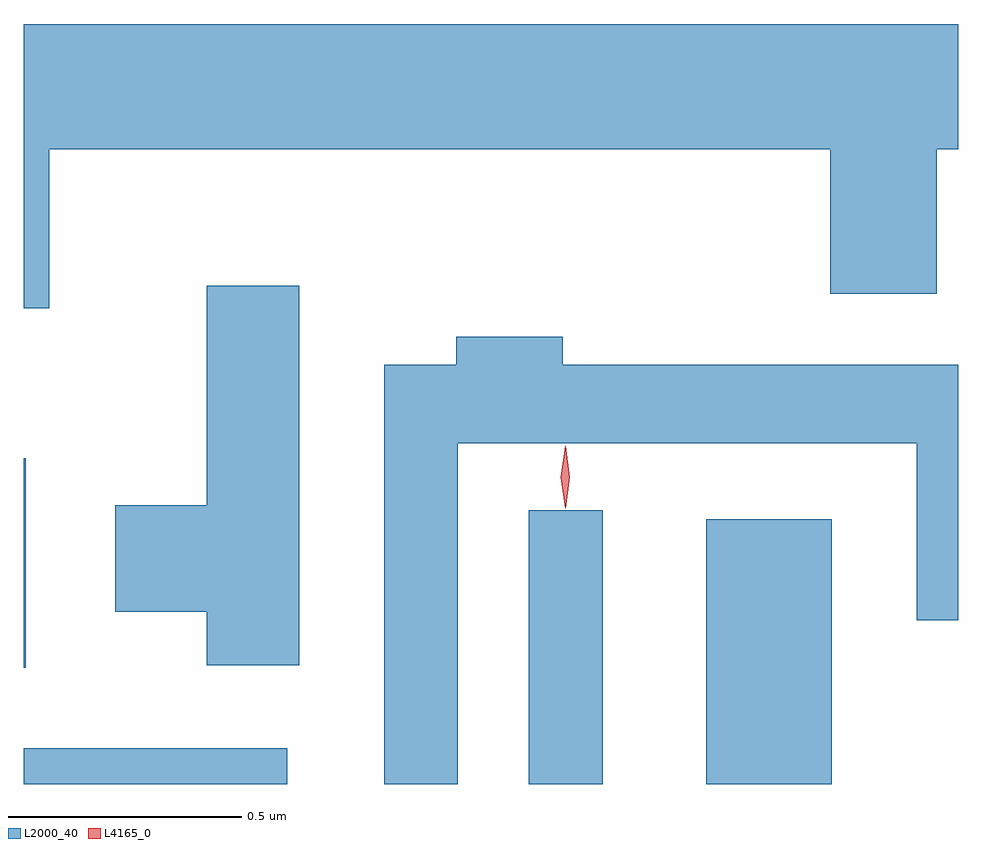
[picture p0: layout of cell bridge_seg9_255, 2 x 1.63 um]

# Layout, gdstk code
import gdstk
lib = gdstk.Library(unit=1e-6, precision=1e-09)
def R(c, l, rs):  # rectangles x0, y0, x1, y1
    for r in rs: c.add(gdstk.rectangle(r[:2], r[2:], *l))
def P(c, l, *ps):  # polygons
    for p in ps: c.add(gdstk.Polygon(p, *l))
L2000_40 = (2000, 40)
L4165_0 = (4165, 0)

bridge_seg9_255 = lib.new_cell('bridge_seg9_255')
R(bridge_seg9_255, L2000_40, [(1468.835,1950.497,1469.399,1950.574), (1469.916,1950.497,1470.074,1951.083), (1470.296,1950.497,1470.564,1951.064), (1468.835,1950.746,1468.839,1951.194)])
P(bridge_seg9_255, L2000_40, [(1468.889,1951.856),(1470.561,1951.856),(1470.561,1951.546),(1470.789,1951.546),(1470.789,1951.856),(1470.835,1951.856),(1470.835,1952.124),(1468.835,1952.124),(1468.835,1951.516),(1468.889,1951.516)],
  [(1469.424,1951.564),(1469.226,1951.564),(1469.226,1951.094),(1469.031,1951.094),(1469.031,1950.866),(1469.226,1950.866),(1469.226,1950.751),(1469.424,1950.751)],
  [(1469.764,1951.226),(1470.746,1951.226),(1470.746,1950.848),(1470.835,1950.848),(1470.835,1951.394),(1469.989,1951.394),(1469.989,1951.454),(1469.761,1951.454),(1469.761,1951.394),(1469.606,1951.394),(1469.606,1950.497),(1469.764,1950.497)])
P(bridge_seg9_255, L4165_0, [(1469.994,1951.087),(1469.994,1951.087),(1469.984,1951.154),(1469.994,1951.22),(1469.994,1951.221),(1469.995,1951.22),(1470.004,1951.154),(1469.995,1951.087)])

lib.write_gds('bridge_seg9_255.gds')
